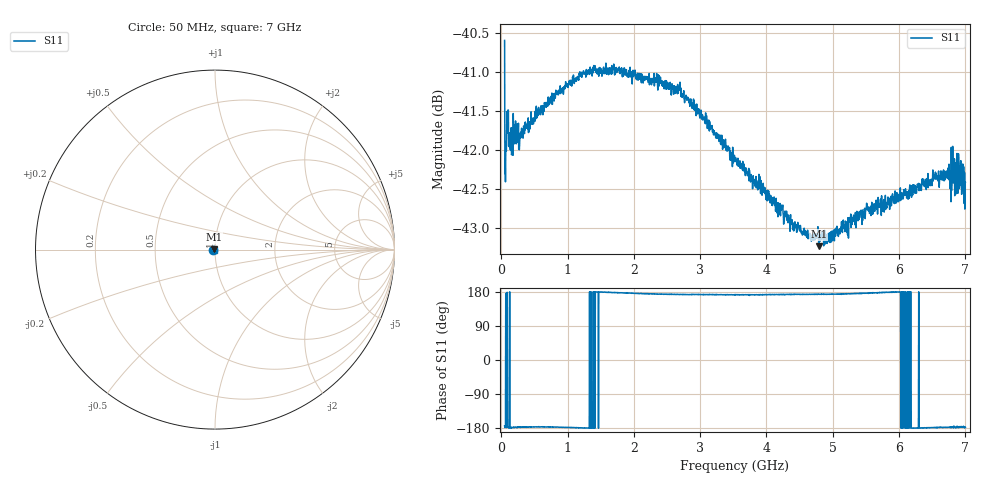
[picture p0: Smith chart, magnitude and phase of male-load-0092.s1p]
! This is a Touchstone .s1p format file
! It should be saved with .s1p extension
! HEWLETT PACKARD,8720D,0,7.74
! Date = 21 Mar 2018
! Time = 01:20:43
! S11 measured = FALSE
! S21 measured = FALSE
! S12 measured = FALSE
! S22 measured = TRUE
! Start frequency = 0.050000000 GHz
! Centre frequency  = 3.524999936 GHz
! Stop frequency  = 7.000000000 GHz
! IF bandwidth = 300 Hz
! Smoothing = OFF
! Smoothing aperture = 1.000000 %
! Averaging = OFF
! Averaging factor = 16
! Source power = On
! Source power = Auto mode
! Output power level = 5.000000 dBm
! Retrace power = Off
! Testset switching = Continuous
! Number of sweeps for test set switching (0=hold, 1=continuous,2-999 = number of sweeps) = 1
! Step sweep = On (check)
! List frequency sweep = Off (check)
! IFBW setting for a list-frequency table in swept list mode = Disabled (Check)
! Power setting for a list-frequency table in swept list mode = Disabled (Check)
! Measurement mode = Chop A and B
! Port extensions = OFF
! Port extension 1 = 0.000000 ps
! Port extension 2 = 57.970000 ps
! Points  = 1601
! Calibration kit = 3.5 mm D
! Power = 5.000000 dBm
! Frequency magS22 angS22
! Magnitudes are in log form
! Angles are in degrees
# MHz S DB R 50
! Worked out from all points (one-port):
!   1601 points, 50 MHz to 7 GHz, reference 50 ohm
!   lowest |S11| = -43.2 dB at 4.789 GHz (marker M1), VSWR 1.01, Z = 49.3 + j0.0711 ohm
!   |S11| at or under -10 dB: start of sweep to end of sweep
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50  -40.59 -174.2
89.09375  -41.57 178.6
115.1562  -41.84 -179.8
145.5625  -41.86 -179.5
215.0625  -41.63 -176.7
258.5  -41.66 -176.2
297.5938  -41.77 -177.2
545.1875  -41.54 -176.8
918.75  -41.25 -177.8
1209.781  -41.02 -179.0
1787.5  -40.96 177.3
2656.25  -41.28 173.5
2882.125  -41.46 172.4
3525  -42.15 172.2
4393.75  -43.01 173.2
4619.625  -43.03 173.0
4789.031  -43.23 174.0
4945.406  -43.17 173.4
5262.5  -42.90 174.6
5510.094  -42.68 176.5
5775.062  -42.80 177.6
6131.25  -42.59 179.6
6543.906  -42.38 -178.1
6748.062  -42.38 -177.6
6821.906  -42.38 -179.2
6852.312  -42.16 -178.6
6904.438  -42.39 -177.0
7000  -42.41 -177.5
